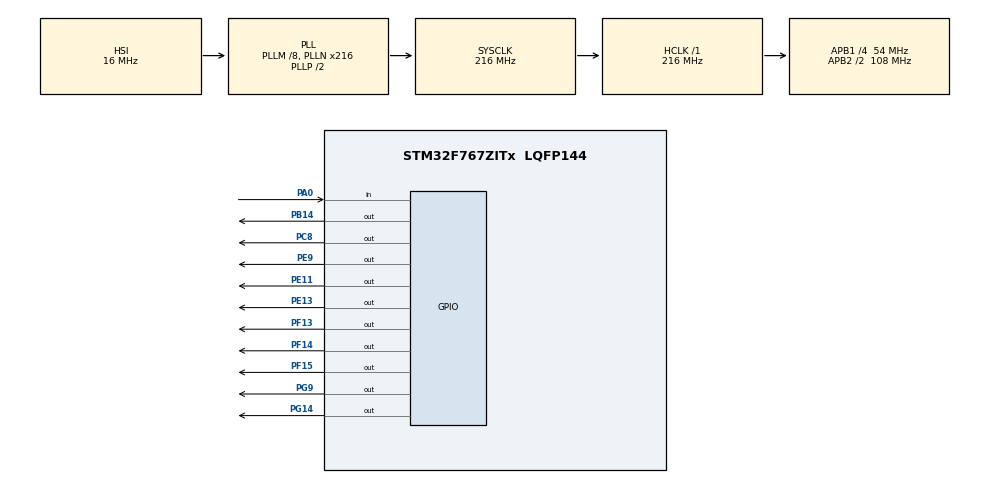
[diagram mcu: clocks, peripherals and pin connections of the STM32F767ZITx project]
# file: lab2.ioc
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Mcu.Family=STM32F7
Mcu.Name=STM32F767ZITx
Mcu.Package=LQFP144
NVIC.PriorityGroup=NVIC_PRIORITYGROUP_4
PA0/WKUP.Signal=GPIO_Input
PB14.Signal=GPIO_Output
PC8.Signal=GPIO_Output
PE11.Signal=GPIO_Output
PE13.Signal=GPIO_Output
PE9.Signal=GPIO_Output
PF13.Signal=GPIO_Output
PF14.Signal=GPIO_Output
PF15.Signal=GPIO_Output
PG14.Signal=GPIO_Output
PG9.Signal=GPIO_Output
ProjectManager.HeapSize=0x200
ProjectManager.StackSize=0x400
ProjectManager.TargetToolchain=STM32CubeIDE
RCC.AHBFreq_Value=216000000
RCC.APB1CLKDivider=RCC_HCLK_DIV4
RCC.APB1Freq_Value=54000000
RCC.APB1TimFreq_Value=108000000
RCC.APB2CLKDivider=RCC_HCLK_DIV2
RCC.APB2Freq_Value=108000000
RCC.APB2TimFreq_Value=216000000
RCC.CortexFreq_Value=216000000
RCC.HCLKFreq_Value=216000000
RCC.HSE_VALUE=25000000
RCC.HSI_VALUE=16000000
RCC.LSE_VALUE=32768
RCC.PLLM=8
RCC.PLLN=216
RCC.SYSCLKFreq_VALUE=216000000
RCC.SYSCLKSource=RCC_SYSCLKSOURCE_PLLCLK
RCC.USBFreq_Value=216000000
RCC.VCOOutputFreq_Value=432000000
board=custom

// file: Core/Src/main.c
/* USER CODE BEGIN Header */
/**
  ******************************************************************************
  * @file           : main.c
  * @brief          : Main program body
  ******************************************************************************
  * @attention
  *
  * <h2><center>&copy; Copyright (c) 2021 STMicroelectronics.
  * All rights reserved.</center></h2>
  *
  * This software component is licensed by ST under BSD 3-Clause license,
  * the "License"; You may not use this file except in compliance with the
  * License. You may obtain a copy of the License at:
  *                        opensource.org/licenses/BSD-3-Clause
  *
  ******************************************************************************
  */
/* USER CODE END Header */
#include "main.h"
#include "gpio.h"

/* USER CODE BEGIN PV */
uint8_t i = 0;
/* USER CODE END PV */

void SystemClock_Config(void);

int main(void)
{

  /* MCU Configuration--------------------------------------------------------*/

  /* Reset of all peripherals, Initializes the Flash interface and the Systick. */
  HAL_Init();

  /* Configure the system clock */
  SystemClock_Config();

  /* Initialize all configured peripherals */
  MX_GPIO_Init();

  /* Infinite loop */
  while (1)
  {

    /* USER CODE BEGIN 3 */
	  if(i==0){
		  HAL_GPIO_WritePin(GPIOF, GPIO_PIN_13, GPIO_PIN_SET);
		  HAL_GPIO_WritePin(GPIOE, GPIO_PIN_9, GPIO_PIN_SET);
		  HAL_GPIO_WritePin(GPIOE, GPIO_PIN_11, GPIO_PIN_SET);
		  HAL_GPIO_WritePin(GPIOF, GPIO_PIN_14, GPIO_PIN_SET);
		  HAL_GPIO_WritePin(GPIOE, GPIO_PIN_13, GPIO_PIN_SET);
		  HAL_GPIO_WritePin(GPIOF, GPIO_PIN_15, GPIO_PIN_SET);
		  HAL_GPIO_WritePin(GPIOG, GPIO_PIN_14, GPIO_PIN_SET);
		  HAL_GPIO_WritePin(GPIOG, GPIO_PIN_9, GPIO_PIN_SET);
	  }

	  if(HAL_GPIO_ReadPin(GPIOA, GPIO_PIN_0)==GPIO_PIN_RESET){
		  i=1;

		  HAL_GPIO_WritePin(GPIOC, GPIO_PIN_8, GPIO_PIN_SET);
		  HAL_GPIO_WritePin(GPIOB, GPIO_PIN_14, GPIO_PIN_SET);
		  HAL_Delay(1000);
		  HAL_GPIO_WritePin(GPIOC, GPIO_PIN_8, GPIO_PIN_RESET);
		  HAL_GPIO_WritePin(GPIOB, GPIO_PIN_14, GPIO_PIN_RESET);

		  HAL_GPIO_WritePin(GPIOF, GPIO_PIN_13, GPIO_PIN_SET);
		  HAL_GPIO_WritePin(GPIOE, GPIO_PIN_9, GPIO_PIN_SET);
		  HAL_GPIO_WritePin(GPIOE, GPIO_PIN_11, GPIO_PIN_SET);
		  HAL_GPIO_WritePin(GPIOF, GPIO_PIN_14, GPIO_PIN_SET);
		  HAL_GPIO_WritePin(GPIOE, GPIO_PIN_13, GPIO_PIN_SET);
		  HAL_GPIO_WritePin(GPIOF, GPIO_PIN_15, GPIO_PIN_SET);
		  HAL_GPIO_WritePin(GPIOG, GPIO_PIN_14, GPIO_PIN_SET);
		  HAL_GPIO_WritePin(GPIOG, GPIO_PIN_9, GPIO_PIN_SET);

		  HAL_GPIO_WritePin(GPIOF, GPIO_PIN_13, GPIO_PIN_RESET);
		  HAL_Delay(500);
		  HAL_GPIO_WritePin(GPIOF, GPIO_PIN_13, GPIO_PIN_SET);
		  HAL_Delay(500);

		  HAL_GPIO_WritePin(GPIOE, GPIO_PIN_9, GPIO_PIN_RESET);
		  HAL_Delay(500);
		  HAL_GPIO_WritePin(GPIOE, GPIO_PIN_9, GPIO_PIN_SET);
		  HAL_Delay(500);

		  HAL_GPIO_WritePin(GPIOE, GPIO_PIN_11, GPIO_PIN_RESET);
		  HAL_Delay(500);
		  HAL_GPIO_WritePin(GPIOE, GPIO_PIN_11, GPIO_PIN_SET);
		  HAL_Delay(500);

		  HAL_GPIO_WritePin(GPIOF, GPIO_PIN_14, GPIO_PIN_RESET);
		  HAL_Delay(500);
		  HAL_GPIO_WritePin(GPIOF, GPIO_PIN_14, GPIO_PIN_SET);
		  HAL_Delay(500);

		  HAL_GPIO_WritePin(GPIOE, GPIO_PIN_13, GPIO_PIN_RESET);
		  HAL_Delay(500);
		  HAL_GPIO_WritePin(GPIOE, GPIO_PIN_13, GPIO_PIN_SET);
		  HAL_Delay(500);

		  HAL_GPIO_WritePin(GPIOF, GPIO_PIN_15, GPIO_PIN_RESET);
		  HAL_Delay(500);
		  HAL_GPIO_WritePin(GPIOF, GPIO_PIN_15, GPIO_PIN_SET);
		  HAL_Delay(500);

		  HAL_GPIO_WritePin(GPIOG, GPIO_PIN_14, GPIO_PIN_RESET);
		  HAL_Delay(500);
		  HAL_GPIO_WritePin(GPIOG, GPIO_PIN_14, GPIO_PIN_SET);
		  HAL_Delay(500);

		  HAL_GPIO_WritePin(GPIOG, GPIO_PIN_9, GPIO_PIN_RESET);
		  HAL_Delay(500);
		  HAL_GPIO_WritePin(GPIOG, GPIO_PIN_9, GPIO_PIN_SET);
		  HAL_Delay(500);

	  }

	  if(HAL_GPIO_ReadPin(GPIOC, GPIO_PIN_13)==GPIO_PIN_SET){
		  i=1;
		  if(HAL_GPIO_ReadPin(GPIOG, GPIO_PIN_9)==GPIO_PIN_RESET){
			  HAL_GPIO_WritePin(GPIOG, GPIO_PIN_9, GPIO_PIN_SET);
			  HAL_GPIO_WritePin(GPIOG, GPIO_PIN_14, GPIO_PIN_RESET);
		  }
		  else if(HAL_GPIO_ReadPin(GPIOG, GPIO_PIN_14)==GPIO_PIN_RESET){
			  HAL_GPIO_WritePin(GPIOG, GPIO_PIN_14, GPIO_PIN_SET);
			  HAL_GPIO_WritePin(GPIOF, GPIO_PIN_15, GPIO_PIN_RESET);
		  }
		  else if(HAL_GPIO_ReadPin(GPIOF, GPIO_PIN_15)==GPIO_PIN_RESET){
			  HAL_GPIO_WritePin(GPIOF, GPIO_PIN_15, GPIO_PIN_SET);
			  HAL_GPIO_WritePin(GPIOE, GPIO_PIN_13, GPIO_PIN_RESET);
		  }
		  else if(HAL_GPIO_ReadPin(GPIOE, GPIO_PIN_13)==GPIO_PIN_RESET){
			  HAL_GPIO_WritePin(GPIOE, GPIO_PIN_13, GPIO_PIN_SET);
			  HAL_GPIO_WritePin(GPIOF, GPIO_PIN_14, GPIO_PIN_RESET);
		  }
		  else if(HAL_GPIO_ReadPin(GPIOF, GPIO_PIN_14)==GPIO_PIN_RESET){
			  HAL_GPIO_WritePin(GPIOF, GPIO_PIN_14, GPIO_PIN_SET);
			  HAL_GPIO_WritePin(GPIOE, GPIO_PIN_11, GPIO_PIN_RESET);
		  }
		  else if(HAL_GPIO_ReadPin(GPIOE, GPIO_PIN_11)==GPIO_PIN_RESET){
			  HAL_GPIO_WritePin(GPIOE, GPIO_PIN_11, GPIO_PIN_SET);
			  HAL_GPIO_WritePin(GPIOE, GPIO_PIN_9, GPIO_PIN_RESET);
		  }
		  else if(HAL_GPIO_ReadPin(GPIOE, GPIO_PIN_9)==GPIO_PIN_RESET){
			  HAL_GPIO_WritePin(GPIOE, GPIO_PIN_9, GPIO_PIN_SET);
			  HAL_GPIO_WritePin(GPIOF, GPIO_PIN_13, GPIO_PIN_RESET);

		  }
		  else if(HAL_GPIO_ReadPin(GPIOF, GPIO_PIN_13)==GPIO_PIN_RESET){
			  HAL_GPIO_WritePin(GPIOF, GPIO_PIN_13, GPIO_PIN_SET);
			  HAL_GPIO_WritePin(GPIOG, GPIO_PIN_9, GPIO_PIN_RESET);
		  }
		  else{
			  HAL_GPIO_WritePin(GPIOF, GPIO_PIN_13, GPIO_PIN_SET);
			  HAL_GPIO_WritePin(GPIOE, GPIO_PIN_9, GPIO_PIN_SET);
			  HAL_GPIO_WritePin(GPIOE, GPIO_PIN_11, GPIO_PIN_SET);
			  HAL_GPIO_WritePin(GPIOF, GPIO_PIN_14, GPIO_PIN_SET);
			  HAL_GPIO_WritePin(GPIOE, GPIO_PIN_13, GPIO_PIN_SET);
			  HAL_GPIO_WritePin(GPIOF, GPIO_PIN_15, GPIO_PIN_SET);
			  HAL_GPIO_WritePin(GPIOG, GPIO_PIN_14, GPIO_PIN_SET);
			  HAL_GPIO_WritePin(GPIOG, GPIO_PIN_9, GPIO_PIN_SET);
			  HAL_GPIO_WritePin(GPIOG, GPIO_PIN_9, GPIO_PIN_RESET);
		  }
		  i++;
		  HAL_Delay(500);

	  }

  }
  /* USER CODE END 3 */
}

void SystemClock_Config(void)
{
  RCC_OscInitTypeDef RCC_OscInitStruct = {0};
  RCC_ClkInitTypeDef RCC_ClkInitStruct = {0};

  /** Configure the main internal regulator output voltage
  */
  __HAL_RCC_PWR_CLK_ENABLE();
  __HAL_PWR_VOLTAGESCALING_CONFIG(PWR_REGULATOR_VOLTAGE_SCALE1);
  /** Initializes the RCC Oscillators according to the specified parameters
  * in the RCC_OscInitTypeDef structure.
  */
  RCC_OscInitStruct.OscillatorType = RCC_OSCILLATORTYPE_HSI;
  RCC_OscInitStruct.HSIState = RCC_HSI_ON;
  RCC_OscInitStruct.HSICalibrationValue = RCC_HSICALIBRATION_DEFAULT;
  RCC_OscInitStruct.PLL.PLLState = RCC_PLL_ON;
  RCC_OscInitStruct.PLL.PLLSource = RCC_PLLSOURCE_HSI;
  RCC_OscInitStruct.PLL.PLLM = 8;
  RCC_OscInitStruct.PLL.PLLN = 216;
  RCC_OscInitStruct.PLL.PLLP = RCC_PLLP_DIV2;
  RCC_OscInitStruct.PLL.PLLQ = 2;
  RCC_OscInitStruct.PLL.PLLR = 2;
  if (HAL_RCC_OscConfig(&RCC_OscInitStruct) != HAL_OK)
  {
    Error_Handler();
  }
  /** Activate the Over-Drive mode
  */
  if (HAL_PWREx_EnableOverDrive() != HAL_OK)
  {
    Error_Handler();
  }
  /** Initializes the CPU, AHB and APB buses clocks
  */
  RCC_ClkInitStruct.ClockType = RCC_CLOCKTYPE_HCLK|RCC_CLOCKTYPE_SYSCLK
                              |RCC_CLOCKTYPE_PCLK1|RCC_CLOCKTYPE_PCLK2;
  RCC_ClkInitStruct.SYSCLKSource = RCC_SYSCLKSOURCE_PLLCLK;
  RCC_ClkInitStruct.AHBCLKDivider = RCC_SYSCLK_DIV1;
  RCC_ClkInitStruct.APB1CLKDivider = RCC_HCLK_DIV4;
  RCC_ClkInitStruct.APB2CLKDivider = RCC_HCLK_DIV2;

  if (HAL_RCC_ClockConfig(&RCC_ClkInitStruct, FLASH_LATENCY_7) != HAL_OK)
  {
    Error_Handler();
  }
}

void Error_Handler(void)
{
  __disable_irq();
  while (1)
  {
  }
}

/************************ (C) COPYRIGHT STMicroelectronics *****END OF FILE****/
